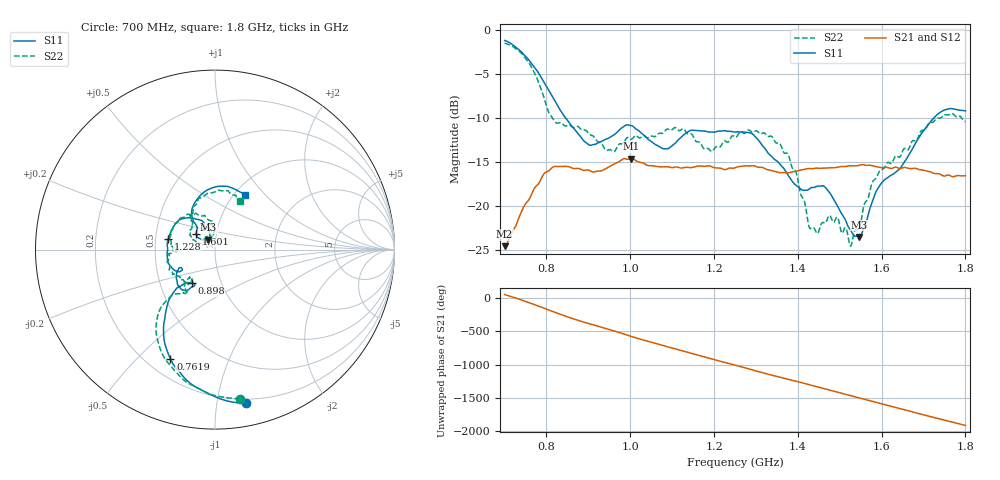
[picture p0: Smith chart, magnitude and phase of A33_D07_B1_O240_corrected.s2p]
! Created with skrf 1.9.0 (http://scikit-rf.org).
# Hz S RI R 50.0
!freq ReS11 ImS11 ReS21 ImS21 ReS12 ImS12 ReS22 ImS22
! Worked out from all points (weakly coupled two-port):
!   1601 points, 700 MHz to 1.8 GHz, reference 50 ohm
!   highest |S21| = -14.58 dB at 1.002 GHz (marker M1); lowest = -24.5 dB at 700 MHz (marker M2)
!   lowest |S11| = -23.5 dB at 1.547 GHz (marker M3), VSWR 1.14, Z = 46.1 + j5.1 ohm
!   |S11| at or under -10 dB: 846.3 MHz to 1.724 GHz (877.9 MHz wide, 68.3 % of centre)
!   |S22| runs from -24.5 to -1.5 dB; largest |S21 - S12| = 0.0035
!   S11 on the Smith chart (normalised r, x): 700 MHz: 0.17, -1.21; 761.9 MHz: 0.29, -0.63; 898 MHz: 0.72, -0.28; 1.228 GHz: 0.58, +0.07; 1.601 GHz: 0.80, +0.14; 1.8 GHz: 1.11, +0.77
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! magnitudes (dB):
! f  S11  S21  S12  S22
! 700 MHz  -1.2  -24.5  -24.3  -1.5
! 761.9 MHz  -3.7  -18.9  -18.8  -4.0
! 818.2 MHz  -7.9  -15.5  -15.6  -10.3
! 883.6 MHz  -12.2  -15.8  -15.7  -11.3
! 898 MHz  -12.9  -15.9  -15.9  -11.6
! 958.5 MHz  -12.0  -15.3  -15.3  -13.8
! 1.002 GHz  -10.8  -14.6  -14.7  -12.4
! 1.067 GHz  -13.2  -15.5  -15.5  -11.8
! 1.127 GHz  -11.9  -15.6  -15.7  -11.2
! 1.194 GHz  -11.6  -15.5  -15.5  -13.8
! 1.228 GHz  -11.4  -15.8  -15.7  -12.6
! 1.25 GHz  -11.6  -15.6  -15.6  -12.1
! 1.357 GHz  -15.2  -16.2  -16.1  -12.9
! 1.395 GHz  -17.6  -16.0  -16.0  -16.1
! 1.434 GHz  -17.9  -15.7  -15.7  -22.4
! 1.493 GHz  -19.8  -15.6  -15.6  -21.2
! 1.526 GHz  -22.7  -15.4  -15.4  -24.5
! 1.547 GHz  -23.5  -15.3  -15.3  -22.6
! 1.601 GHz  -17.3  -15.6  -15.6  -15.8
! 1.617 GHz  -16.7  -15.6  -15.6  -15.0
! 1.733 GHz  -9.6  -16.3  -16.3  -10.0
! 1.8 GHz  -9.2  -16.5  -16.5  -10.4
